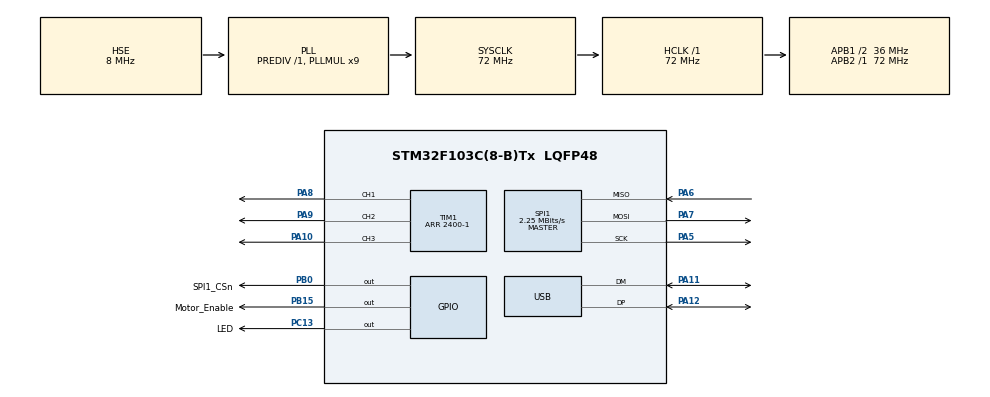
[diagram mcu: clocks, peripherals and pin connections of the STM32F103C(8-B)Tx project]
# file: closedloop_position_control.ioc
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Mcu.Family=STM32F1
Mcu.Name=STM32F103C(8-B)Tx
Mcu.Package=LQFP48
NVIC.PriorityGroup=NVIC_PRIORITYGROUP_4
NVIC.TIM2_IRQn=true\:0\:0\:false\:false\:true\:true\:true\:true
NVIC.USB_LP_CAN1_RX0_IRQn=true\:0\:0\:false\:false\:true\:false\:true\:true
PA10.Signal=S_TIM1_CH3
PA11.Mode=Device
PA11.Signal=USB_DM
PA12.Mode=Device
PA12.Signal=USB_DP
PA5.Mode=Full_Duplex_Master
PA5.Signal=SPI1_SCK
PA6.GPIO_PuPd=GPIO_PULLUP
PA6.Mode=Full_Duplex_Master
PA6.Signal=SPI1_MISO
PA7.Mode=Full_Duplex_Master
PA7.Signal=SPI1_MOSI
PA8.Signal=S_TIM1_CH1
PA9.Signal=S_TIM1_CH2
PB0.GPIO_Label=SPI1_CSn
PB0.GPIO_Speed=GPIO_SPEED_FREQ_HIGH
PB0.PinState=GPIO_PIN_SET
PB0.Signal=GPIO_Output
PB15.GPIO_Label=Motor_Enable
PB15.Signal=GPIO_Output
PC13-TAMPER-RTC.GPIO_Label=LED
PC13-TAMPER-RTC.Signal=GPIO_Output
PD0-OSC_IN.Mode=HSE-External-Oscillator
PD0-OSC_IN.Signal=RCC_OSC_IN
PD1-OSC_OUT.Mode=HSE-External-Oscillator
PD1-OSC_OUT.Signal=RCC_OSC_OUT
ProjectManager.HeapSize=0x200
ProjectManager.StackSize=0x400
ProjectManager.TargetToolchain=STM32CubeIDE
RCC.AHBFreq_Value=72000000
RCC.APB1CLKDivider=RCC_HCLK_DIV2
RCC.APB1Freq_Value=36000000
RCC.APB1TimFreq_Value=72000000
RCC.APB2Freq_Value=72000000
RCC.APB2TimFreq_Value=72000000
RCC.HCLKFreq_Value=72000000
RCC.PLLMUL=RCC_PLL_MUL9
RCC.PLLSourceVirtual=RCC_PLLSOURCE_HSE
RCC.SYSCLKFreq_VALUE=72000000
RCC.SYSCLKSource=RCC_SYSCLKSOURCE_PLLCLK
RCC.USBFreq_Value=48000000
RCC.USBPrescaler=RCC_USBCLKSOURCE_PLL_DIV1_5
SH.S_TIM1_CH1.0=TIM1_CH1,PWM Generation1 CH1
SH.S_TIM1_CH2.0=TIM1_CH2,PWM Generation2 CH2
SH.S_TIM1_CH3.0=TIM1_CH3,PWM Generation3 CH3
SPI1.BaudRatePrescaler=SPI_BAUDRATEPRESCALER_32
SPI1.CalculateBaudRate=2.25 MBits/s
SPI1.DataSize=SPI_DATASIZE_16BIT
SPI1.Direction=SPI_DIRECTION_2LINES
SPI1.Mode=SPI_MODE_MASTER
SPI1.VirtualType=VM_MASTER
TIM1.Channel-PWM\ Generation1\ CH1=TIM_CHANNEL_1
TIM1.Channel-PWM\ Generation2\ CH2=TIM_CHANNEL_2
TIM1.Channel-PWM\ Generation3\ CH3=TIM_CHANNEL_3
TIM1.Period=2400-1
TIM2.Period=4000-1
TIM2.Prescaler=90-1
USB_DEVICE.CLASS_NAME_FS=CDC
USB_DEVICE.PRODUCT_STRING_CDC_FS=STM32 Virtual Port
USB_DEVICE.VirtualMode=Cdc
USB_DEVICE.VirtualModeFS=Cdc_FS
VP_SYS_VS_ND.Mode=No_Debug
VP_TIM1_VS_ClockSourceINT.Mode=Internal
VP_TIM2_VS_ClockSourceINT.Mode=Internal
VP_USB_DEVICE_VS_USB_DEVICE_CDC_FS.Mode=CDC_FS
board=custom

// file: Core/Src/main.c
/* USER CODE BEGIN Header */
/**
  ******************************************************************************
  * @file           : main.c
  * @brief          : Main program body
  ******************************************************************************
  * @attention
  *
  * Copyright (c) 2023 STMicroelectronics.
  * All rights reserved.
  *
  * This software is licensed under terms that can be found in the LICENSE file
  * in the root directory of this software component.
  * If no LICENSE file comes with this software, it is provided AS-IS.
  *
  ******************************************************************************
  */
/* USER CODE END Header */
#include "main.h"
#include "usb_device.h"

/* USER CODE BEGIN Includes */

#include <math.h>
#include "usbd_cdc_if.h"
#include "string.h"
#include "as5048a.h"
/* USER CODE END Includes */

/* USER CODE BEGIN PTD */
void SystemClock_Config(void);
static void MX_GPIO_Init(void);
//static void MX_LPUART1_UART_Init(void);
static void MX_TIM1_Init(void);
static void MX_TIM2_Init(void);
//static void MX_ADC1_Init(void);
/* USER CODE BEGIN PFP */

/* USER CODE END PFP */

/* Private user code ---------------------------------------------------------*/
/* USER CODE BEGIN 0 */

/* USER CODE END PTD */

SPI_HandleTypeDef hspi1;

TIM_HandleTypeDef htim1;
TIM_HandleTypeDef htim2;

void SystemClock_Config(void);
static void MX_GPIO_Init(void);
static void MX_SPI1_Init(void);
static void MX_TIM1_Init(void);
static void MX_TIM2_Init(void);

/* USER CODE BEGIN 0 */

/* USER CODE END PTD */

/* Private define ------------------------------------------------------------*/
/* USER CODE BEGIN PD */
/* USER CODE END PD */

/* Private macro -------------------------------------------------------------*/
/* USER CODE BEGIN PM */

/* USER CODE END PM */

/* Private variables ---------------------------------------------------------*/
SPI_HandleTypeDef hspi1;

TIM_HandleTypeDef htim1;
TIM_HandleTypeDef htim2;

/* USER CODE BEGIN PV */

/* USER CODE END PV */

/* Private function prototypes -----------------------------------------------*/
void SystemClock_Config(void);
static void MX_GPIO_Init(void);
static void MX_SPI1_Init(void);
static void MX_TIM1_Init(void);
static void MX_TIM2_Init(void);
/* USER CODE BEGIN PFP */

/* USER CODE END PFP */

/* Private user code ---------------------------------------------------------*/
/* USER CODE BEGIN 0 */

/* USER CODE END PTD */

/* Private define ------------------------------------------------------------*/
/* USER CODE BEGIN PD */
/* USER CODE END PD */

/* Private macro -------------------------------------------------------------*/
/* USER CODE BEGIN PM */

/* USER CODE END PM */

/* Private variables ---------------------------------------------------------*/
SPI_HandleTypeDef hspi1;

TIM_HandleTypeDef htim1;
TIM_HandleTypeDef htim2;

/* USER CODE BEGIN PV */

/* USER CODE END PV */

/* Private function prototypes -----------------------------------------------*/
void SystemClock_Config(void);
static void MX_GPIO_Init(void);
static void MX_SPI1_Init(void);
static void MX_TIM1_Init(void);
static void MX_TIM2_Init(void);
/* USER CODE BEGIN PFP */

/* USER CODE END PFP */

/* Private user code ---------------------------------------------------------*/
/* USER CODE BEGIN 0 */

/* USER CODE END PTD */

/* Private define ------------------------------------------------------------*/
/* USER CODE BEGIN PD */
char data[50];
#define _constrain(amt,low,high) ((amt)<(low)?(low):((amt)>(high)?(high):(amt)))
float voltage_limit=12;
float voltage_power_supply=12;
float shaft_angle=0,open_loop_timestamp=0;
float zero_electric_angle=0,Ualpha,Ubeta=0,Ua=0,Ub=0,Uc=0,dc_a=0,dc_b=0,dc_c=0;
int period=2400;
int pole_pairs=11;
int index1=0;
uint16_t raw1,raw2,raw3;

static inline uint32_t LL_SYSTICK_IsActiveCounterFlag(void)
{
  return ((SysTick->CTRL & SysTick_CTRL_COUNTFLAG_Msk) == (SysTick_CTRL_COUNTFLAG_Msk));
}
uint32_t getCurrentMicros(void)
{
  /* Ensure COUNTFLAG is reset by reading SysTick control and status register */
  LL_SYSTICK_IsActiveCounterFlag();
  uint32_t m = HAL_GetTick();
  const uint32_t tms = SysTick->LOAD + 1;
  __IO uint32_t u = tms - SysTick->VAL;
  if (LL_SYSTICK_IsActiveCounterFlag()) {
    m = HAL_GetTick();
    u = tms - SysTick->VAL;
  }
  return (m * 1000 + (u * 1000) / tms);
}
float _electricalAngle(float shaft_angle, int pole_pairs) {
  return (shaft_angle * pole_pairs);
}
float _normalizeAngle(float angle){
  float a = fmod(angle, 2*M_PI);   //取余运算可以用于归一化，列出特殊值例子算便知
  return a >= 0 ? a : (a + 2*M_PI);
  //三目运算符。格式：condition ? expr1 : expr2
  //其中，condition 是要求值的条件表达式，如果条件成立，则返回 expr1 的值，否则返回 expr2 的值。
  //可以将三目运算符视为 if-else 语句的简化形式。
  //fmod 函数的余数的符号与除数相同。因此，当 angle 的值为负数时，余数的符号将与 _2M_PI 的符号相反。
  //也就是说，如果 angle 的值小于 0 且 _2M_PI 的值为正数，则 fmod(angle, _2M_PI) 的余数将为负数。
  //例如，当 angle 的值为 -M_PI/2，_2M_PI 的值为 2M_PI 时，fmod(angle, _2M_PI) 将返回一个负数。
  //在这种情况下，可以通过将负数的余数加上 _2M_PI 来将角度归一化到 [0, 2M_PI] 的范围内，以确保角度的值始终为正数。
}

void setPwm(float Ua, float Ub, float Uc) {

//	// 限制上限
	Ua = _constrain(Ua, 0.0f, voltage_limit);
	Ub = _constrain(Ub, 0.0f, voltage_limit);
	Uc = _constrain(Uc, 0.0f, voltage_limit);
	// 计算占空比
	// 限制占空比从0到1
	dc_a = _constrain(Ua / voltage_power_supply, 0.0f , 1.0f );
	dc_b = _constrain(Ub / voltage_power_supply, 0.0f , 1.0f );
	dc_c = _constrain(Uc / voltage_power_supply, 0.0f , 1.0f );

	//写入PWM到PWM 0 1 2 通道
	TIM1->CCR1 = (uint32_t) roundf(dc_a*period);
	TIM1->CCR2 = (uint32_t) roundf(dc_b*period);
	TIM1->CCR3 = (uint32_t) roundf(dc_c*period);

}

void setPhaseVoltage(float Uq,float Ud, float angle_el) {
  angle_el = _normalizeAngle(angle_el + zero_electric_angle);
  // 帕克逆变换
  Ualpha =  -Uq*sin(angle_el);
  Ubeta =   Uq*cos(angle_el);

  // 克拉克逆变换
  Ua = Ualpha + voltage_power_supply/2;
  Ub = (sqrt(3)*Ubeta-Ualpha)/2 + voltage_power_supply/2;
  Uc = (-Ualpha-sqrt(3)*Ubeta)/2 + voltage_power_supply/2;
  setPwm(Ua,Ub,Uc);
}

//开环速度函数
float velocityOpenloop(float target_velocity){
//	uint32_t now_us = getCurrentMicros();
//	uint32_t now_us = HAL_GetTick();
//  Provides a tick value in microseconds.

  //计算当前每个Loop的运行时间间隔
//  float Ts = (now_us - open_loop_timestamp) * 1e-3f;
	float Ts=5E-3f;

  // 通过乘以时间间隔和目标速度来计算需要转动的机械角度，存储在 shaft_angle 变量中。
  //在此之前，还需要对轴角度进行归一化，以确保其值在 0 到 2π 之间。
  shaft_angle = _normalizeAngle(shaft_angle + target_velocity*Ts);
  //以目标速度为 10 rad/s 为例，如果时间间隔是 1 秒，则在每个循环中需要增加 10 * 1 = 10 弧度的角度变化量，才能使电机转动到目标速度。
  //如果时间间隔是 0.1 秒，那么在每个循环中需要增加的角度变化量就是 10 * 0.1 = 1 弧度，才能实现相同的目标速度。
  //因此，电机轴的转动角度取决于目标速度和时间间隔的乘积。

  // Uq is not related to voltage limit
  float Uq = 5.5;

  setPhaseVoltage(Uq,  0, _electricalAngle(shaft_angle, pole_pairs));

//  open_loop_timestamp = now_us;  //用于计算下一个时间间隔

  return Uq;
}
/* USER CODE END PD */

/* Private macro -------------------------------------------------------------*/
/* USER CODE BEGIN PM */

/* USER CODE END PM */

/* Private variables ---------------------------------------------------------*/
SPI_HandleTypeDef hspi1;

TIM_HandleTypeDef htim1;
TIM_HandleTypeDef htim2;

/* USER CODE BEGIN PV */

/* USER CODE END PV */

/* Private function prototypes -----------------------------------------------*/
void SystemClock_Config(void);
static void MX_GPIO_Init(void);
static void MX_SPI1_Init(void);
static void MX_TIM1_Init(void);
static void MX_TIM2_Init(void);
/* USER CODE BEGIN PFP */

/* USER CODE END PFP */

/* Private user code ---------------------------------------------------------*/
/* USER CODE BEGIN 0 */

/* USER CODE END PTD */

/* Private define ------------------------------------------------------------*/
/* USER CODE BEGIN PD */
/* USER CODE END PD */

/* Private macro -------------------------------------------------------------*/
/* USER CODE BEGIN PM */

/* USER CODE END PM */

/* Private variables ---------------------------------------------------------*/
SPI_HandleTypeDef hspi1;

TIM_HandleTypeDef htim1;
TIM_HandleTypeDef htim2;

/* USER CODE BEGIN PV */

/* USER CODE END PV */

/* Private function prototypes -----------------------------------------------*/
void SystemClock_Config(void);
static void MX_GPIO_Init(void);
static void MX_SPI1_Init(void);
static void MX_TIM1_Init(void);
static void MX_TIM2_Init(void);
/* USER CODE BEGIN PFP */

/* USER CODE END PFP */

/* Private user code ---------------------------------------------------------*/
/* USER CODE BEGIN 0 */

/* USER CODE END 0 */

int main(void)
{

  /* MCU Configuration--------------------------------------------------------*/

  /* Reset of all peripherals, Initializes the Flash interface and the Systick. */
  HAL_Init();

  /* Configure the system clock */
  SystemClock_Config();

  /* Initialize all configured peripherals */
  MX_GPIO_Init();
  MX_SPI1_Init();
  MX_USB_DEVICE_Init();
  MX_TIM1_Init();
  MX_TIM2_Init();
  /* USER CODE BEGIN 2 */
  HAL_GPIO_WritePin(Motor_Enable_GPIO_Port, Motor_Enable_Pin, GPIO_PIN_SET);
  HAL_TIM_PWM_Start(&htim1, TIM_CHANNEL_1);
   HAL_TIM_PWM_Start(&htim1, TIM_CHANNEL_2);
   HAL_TIM_PWM_Start(&htim1, TIM_CHANNEL_3);
   HAL_TIM_Base_Start_IT(&htim2);
  /* USER CODE END 2 */

  /* Infinite loop */
  while (1)
  {

  }
}

void SystemClock_Config(void)
{
  RCC_OscInitTypeDef RCC_OscInitStruct = {0};
  RCC_ClkInitTypeDef RCC_ClkInitStruct = {0};
  RCC_PeriphCLKInitTypeDef PeriphClkInit = {0};

  /** Initializes the RCC Oscillators according to the specified parameters
  * in the RCC_OscInitTypeDef structure.
  */
  RCC_OscInitStruct.OscillatorType = RCC_OSCILLATORTYPE_HSE;
  RCC_OscInitStruct.HSEState = RCC_HSE_ON;
  RCC_OscInitStruct.HSEPredivValue = RCC_HSE_PREDIV_DIV1;
  RCC_OscInitStruct.HSIState = RCC_HSI_ON;
  RCC_OscInitStruct.PLL.PLLState = RCC_PLL_ON;
  RCC_OscInitStruct.PLL.PLLSource = RCC_PLLSOURCE_HSE;
  RCC_OscInitStruct.PLL.PLLMUL = RCC_PLL_MUL9;
  if (HAL_RCC_OscConfig(&RCC_OscInitStruct) != HAL_OK)
  {
    Error_Handler();
  }

  /** Initializes the CPU, AHB and APB buses clocks
  */
  RCC_ClkInitStruct.ClockType = RCC_CLOCKTYPE_HCLK|RCC_CLOCKTYPE_SYSCLK
                              |RCC_CLOCKTYPE_PCLK1|RCC_CLOCKTYPE_PCLK2;
  RCC_ClkInitStruct.SYSCLKSource = RCC_SYSCLKSOURCE_PLLCLK;
  RCC_ClkInitStruct.AHBCLKDivider = RCC_SYSCLK_DIV1;
  RCC_ClkInitStruct.APB1CLKDivider = RCC_HCLK_DIV2;
  RCC_ClkInitStruct.APB2CLKDivider = RCC_HCLK_DIV1;

  if (HAL_RCC_ClockConfig(&RCC_ClkInitStruct, FLASH_LATENCY_2) != HAL_OK)
  {
    Error_Handler();
  }
  PeriphClkInit.PeriphClockSelection = RCC_PERIPHCLK_USB;
  PeriphClkInit.UsbClockSelection = RCC_USBCLKSOURCE_PLL_DIV1_5;
  if (HAL_RCCEx_PeriphCLKConfig(&PeriphClkInit) != HAL_OK)
  {
    Error_Handler();
  }
}

static void MX_SPI1_Init(void)
{

  /* SPI1 parameter configuration*/
  hspi1.Instance = SPI1;
  hspi1.Init.Mode = SPI_MODE_MASTER;
  hspi1.Init.Direction = SPI_DIRECTION_2LINES;
  hspi1.Init.DataSize = SPI_DATASIZE_16BIT;
  hspi1.Init.CLKPolarity = SPI_POLARITY_LOW;
  hspi1.Init.CLKPhase = SPI_PHASE_1EDGE;
  hspi1.Init.NSS = SPI_NSS_SOFT;
  hspi1.Init.BaudRatePrescaler = SPI_BAUDRATEPRESCALER_32;
  hspi1.Init.FirstBit = SPI_FIRSTBIT_MSB;
  hspi1.Init.TIMode = SPI_TIMODE_DISABLE;
  hspi1.Init.CRCCalculation = SPI_CRCCALCULATION_DISABLE;
  hspi1.Init.CRCPolynomial = 10;
  if (HAL_SPI_Init(&hspi1) != HAL_OK)
  {
    Error_Handler();
  }

}

static void MX_TIM1_Init(void)
{

  TIM_ClockConfigTypeDef sClockSourceConfig = {0};
  TIM_MasterConfigTypeDef sMasterConfig = {0};
  TIM_OC_InitTypeDef sConfigOC = {0};
  TIM_BreakDeadTimeConfigTypeDef sBreakDeadTimeConfig = {0};

  htim1.Instance = TIM1;
  htim1.Init.Prescaler = 0;
  htim1.Init.CounterMode = TIM_COUNTERMODE_UP;
  htim1.Init.Period = 2400-1;
  htim1.Init.ClockDivision = TIM_CLOCKDIVISION_DIV1;
  htim1.Init.RepetitionCounter = 0;
  htim1.Init.AutoReloadPreload = TIM_AUTORELOAD_PRELOAD_DISABLE;
  if (HAL_TIM_Base_Init(&htim1) != HAL_OK)
  {
    Error_Handler();
  }
  sClockSourceConfig.ClockSource = TIM_CLOCKSOURCE_INTERNAL;
  if (HAL_TIM_ConfigClockSource(&htim1, &sClockSourceConfig) != HAL_OK)
  {
    Error_Handler();
  }
  if (HAL_TIM_PWM_Init(&htim1) != HAL_OK)
  {
    Error_Handler();
  }
  sMasterConfig.MasterOutputTrigger = TIM_TRGO_RESET;
  sMasterConfig.MasterSlaveMode = TIM_MASTERSLAVEMODE_DISABLE;
  if (HAL_TIMEx_MasterConfigSynchronization(&htim1, &sMasterConfig) != HAL_OK)
  {
    Error_Handler();
  }
  sConfigOC.OCMode = TIM_OCMODE_PWM1;
  sConfigOC.Pulse = 0;
  sConfigOC.OCPolarity = TIM_OCPOLARITY_HIGH;
  sConfigOC.OCNPolarity = TIM_OCNPOLARITY_HIGH;
  sConfigOC.OCFastMode = TIM_OCFAST_DISABLE;
  sConfigOC.OCIdleState = TIM_OCIDLESTATE_RESET;
  sConfigOC.OCNIdleState = TIM_OCNIDLESTATE_RESET;
  if (HAL_TIM_PWM_ConfigChannel(&htim1, &sConfigOC, TIM_CHANNEL_1) != HAL_OK)
  {
    Error_Handler();
  }
  if (HAL_TIM_PWM_ConfigChannel(&htim1, &sConfigOC, TIM_CHANNEL_2) != HAL_OK)
  {
    Error_Handler();
  }
  if (HAL_TIM_PWM_ConfigChannel(&htim1, &sConfigOC, TIM_CHANNEL_3) != HAL_OK)
  {
    Error_Handler();
  }
  sBreakDeadTimeConfig.OffStateRunMode = TIM_OSSR_DISABLE;
  sBreakDeadTimeConfig.OffStateIDLEMode = TIM_OSSI_DISABLE;
  sBreakDeadTimeConfig.LockLevel = TIM_LOCKLEVEL_OFF;
  sBreakDeadTimeConfig.DeadTime = 0;
  sBreakDeadTimeConfig.BreakState = TIM_BREAK_DISABLE;
  sBreakDeadTimeConfig.BreakPolarity = TIM_BREAKPOLARITY_HIGH;
  sBreakDeadTimeConfig.AutomaticOutput = TIM_AUTOMATICOUTPUT_DISABLE;
  if (HAL_TIMEx_ConfigBreakDeadTime(&htim1, &sBreakDeadTimeConfig) != HAL_OK)
  {
    Error_Handler();
  }
  HAL_TIM_MspPostInit(&htim1);

}

static void MX_TIM2_Init(void)
{

  TIM_ClockConfigTypeDef sClockSourceConfig = {0};
  TIM_MasterConfigTypeDef sMasterConfig = {0};

  htim2.Instance = TIM2;
  htim2.Init.Prescaler = 90-1;
  htim2.Init.CounterMode = TIM_COUNTERMODE_UP;
  htim2.Init.Period = 4000-1;
  htim2.Init.ClockDivision = TIM_CLOCKDIVISION_DIV1;
  htim2.Init.AutoReloadPreload = TIM_AUTORELOAD_PRELOAD_DISABLE;
  if (HAL_TIM_Base_Init(&htim2) != HAL_OK)
  {
    Error_Handler();
  }
  sClockSourceConfig.ClockSource = TIM_CLOCKSOURCE_INTERNAL;
  if (HAL_TIM_ConfigClockSource(&htim2, &sClockSourceConfig) != HAL_OK)
  {
    Error_Handler();
  }
  sMasterConfig.MasterOutputTrigger = TIM_TRGO_RESET;
  sMasterConfig.MasterSlaveMode = TIM_MASTERSLAVEMODE_DISABLE;
  if (HAL_TIMEx_MasterConfigSynchronization(&htim2, &sMasterConfig) != HAL_OK)
  {
    Error_Handler();
  }

}

static void MX_GPIO_Init(void)
{
  GPIO_InitTypeDef GPIO_InitStruct = {0};

  /* GPIO Ports Clock Enable */
  __HAL_RCC_GPIOC_CLK_ENABLE();
  __HAL_RCC_GPIOD_CLK_ENABLE();
  __HAL_RCC_GPIOA_CLK_ENABLE();
  __HAL_RCC_GPIOB_CLK_ENABLE();

  /*Configure GPIO pin Output Level */
  HAL_GPIO_WritePin(LED_GPIO_Port, LED_Pin, GPIO_PIN_RESET);

  /*Configure GPIO pin Output Level */
  HAL_GPIO_WritePin(SPI1_CSn_GPIO_Port, SPI1_CSn_Pin, GPIO_PIN_SET);

  /*Configure GPIO pin Output Level */
  HAL_GPIO_WritePin(Motor_Enable_GPIO_Port, Motor_Enable_Pin, GPIO_PIN_RESET);

  /*Configure GPIO pin : LED_Pin */
  GPIO_InitStruct.Pin = LED_Pin;
  GPIO_InitStruct.Mode = GPIO_MODE_OUTPUT_PP;
  GPIO_InitStruct.Pull = GPIO_NOPULL;
  GPIO_InitStruct.Speed = GPIO_SPEED_FREQ_LOW;
  HAL_GPIO_Init(LED_GPIO_Port, &GPIO_InitStruct);

  /*Configure GPIO pin : SPI1_CSn_Pin */
  GPIO_InitStruct.Pin = SPI1_CSn_Pin;
  GPIO_InitStruct.Mode = GPIO_MODE_OUTPUT_PP;
  GPIO_InitStruct.Pull = GPIO_NOPULL;
  GPIO_InitStruct.Speed = GPIO_SPEED_FREQ_HIGH;
  HAL_GPIO_Init(SPI1_CSn_GPIO_Port, &GPIO_InitStruct);

  /*Configure GPIO pin : Motor_Enable_Pin */
  GPIO_InitStruct.Pin = Motor_Enable_Pin;
  GPIO_InitStruct.Mode = GPIO_MODE_OUTPUT_PP;
  GPIO_InitStruct.Pull = GPIO_NOPULL;
  GPIO_InitStruct.Speed = GPIO_SPEED_FREQ_LOW;
  HAL_GPIO_Init(Motor_Enable_GPIO_Port, &GPIO_InitStruct);

}

/* USER CODE BEGIN 4 */
void HAL_TIM_PeriodElapsedCallback(TIM_HandleTypeDef *htim)
{
  // Check which version of the timer triggered this callback and toggle LED
  if (htim == &htim2 )
  {

    velocityOpenloop(5);
    index1+=1;
    uint16_t angle=read(&hspi1, SPI1_CSn_GPIO_Port,SPI1_CSn_Pin,AS5048A_ANGLE);
//    sprintf(data, "open loop control \n");
    sprintf(data, "angle: %u \n", angle);
    CDC_Transmit_FS((uint8_t*) data, strlen(data));
    if (index1 == 200){
    	HAL_GPIO_TogglePin(LED_GPIO_Port, LED_Pin);

    	index1=0;
    }
  }
}
/* USER CODE END 4 */

void Error_Handler(void)
{
  __disable_irq();
  while (1)
  {
  }
}
